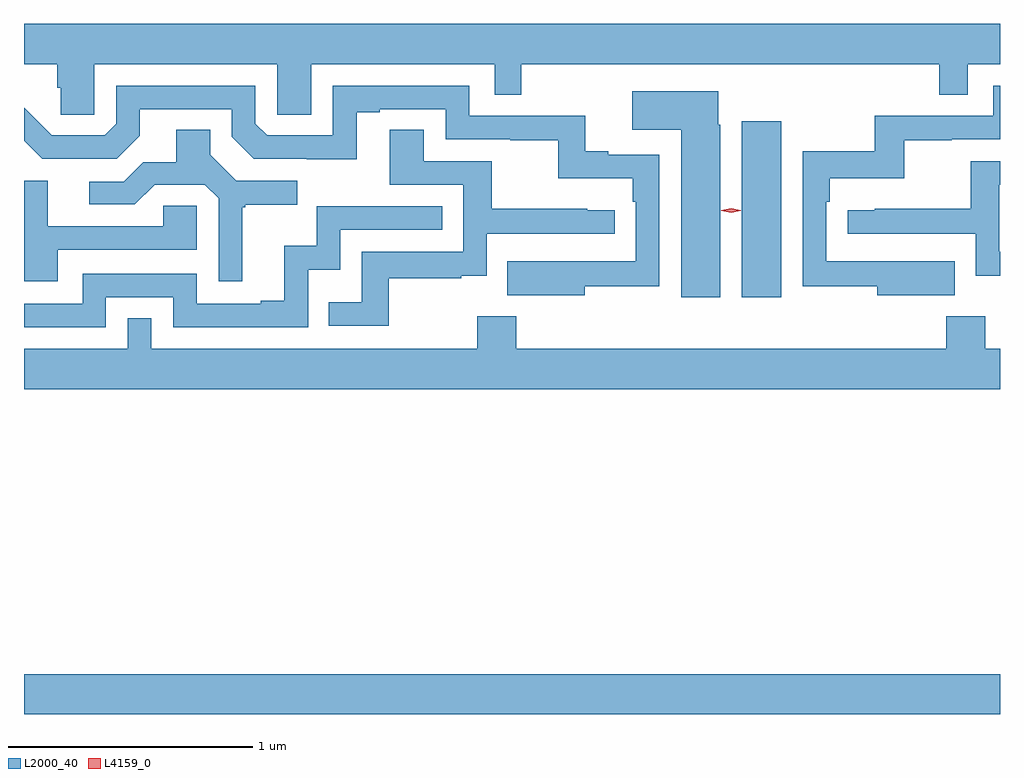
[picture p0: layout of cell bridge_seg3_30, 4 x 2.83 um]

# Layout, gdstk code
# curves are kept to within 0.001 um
import gdstk
lib = gdstk.Library(unit=1e-6, precision=1e-09)
def R(c, l, rs):  # rectangles x0, y0, x1, y1
    for r in rs: c.add(gdstk.rectangle(r[:2], r[2:], *l))
def P(c, l, *ps):  # polygons
    for p in ps: c.add(gdstk.Polygon(p, *l))
L2000_40 = (2000, 40)
L4159_0 = (4159, 0)

bridge_seg3_30 = lib.new_cell('bridge_seg3_30')
R(bridge_seg3_30, L2000_40, [(860.604,703.58,864.604,703.744), (863.546,705.288,863.707,706.009)])
P(bridge_seg3_30, L2000_40, [(860.892,706.244),(861.642,706.244),(861.642,706.036),(861.781,706.036),(861.781,706.244),(862.533,706.244),(862.533,706.117),(862.642,706.117),(862.642,706.244),(864.355,706.244),(864.355,706.117),(864.471,706.117),(864.471,706.244),(864.604,706.244),(864.604,706.408),(860.604,706.408),(860.604,706.244),(860.741,706.244),(860.741,706.146),(860.755,706.146),(860.755,706.036),(860.892,706.036)],
  [(864.419,705.436),(864.205,705.436),(864.205,705.435),(863.892,705.435),(863.892,705.68),(863.906,705.68),(863.906,705.776),(864.211,705.776),(864.211,705.931),(864.407,705.931),(864.407,705.936),(864.604,705.936),(864.604,706.155),(864.576,706.155),(864.576,706.032),(864.09,706.032),(864.09,705.886),(863.796,705.886),(863.796,705.334),(864.101,705.334),(864.101,705.296),(864.419,705.296)],
  [(862.903,705.334),(863.208,705.334),(863.208,705.873),(862.999,705.873),(862.999,705.886),(862.904,705.886),(862.904,706.032),(862.428,706.032),(862.428,706.155),(861.87,706.155),(861.87,705.951),(861.6,705.951),(861.552,705.999),(861.552,706.155),(860.982,706.155),(860.982,705.999),(860.934,705.951),(860.718,705.951),(860.604,706.065),(860.604,705.93),(860.679,705.855),(860.985,705.855),(861.079,705.949),(861.079,706.059),(861.456,706.059),(861.456,705.945),(861.546,705.855),(861.967,705.854),(861.967,706.047),(862.063,706.047),(862.063,706.059),(862.332,706.059),(862.332,705.936),(862.597,705.936),(862.597,705.931),(862.794,705.931),(862.794,705.776),(863.099,705.776),(863.099,705.68),(863.112,705.68),(863.112,705.435),(862.585,705.436),(862.585,705.296),(862.903,705.296)],
  [(863.458,705.996),(863.449,705.996),(863.449,706.132),(863.097,706.132),(863.097,705.974),(863.297,705.974),(863.297,705.288),(863.458,705.288)],
  [(861.499,705.657),(861.511,705.657),(861.511,705.668),(861.724,705.668),(861.724,705.765),(861.474,705.765),(861.367,705.872),(861.367,705.974),(861.227,705.974),(861.227,705.842),(861.092,705.842),(861.012,705.762),(860.871,705.762),(860.871,705.669),(861.058,705.669),(861.139,705.75),(861.345,705.75),(861.402,705.693),(861.402,705.354),(861.499,705.354)],
  [(862.099,705.366),(862.397,705.366),(862.397,705.377),(862.5,705.377),(862.5,705.549),(863.026,705.549),(863.026,705.645),(862.913,705.645),(862.913,705.65),(862.52,705.65),(862.52,705.846),(862.243,705.846),(862.243,705.974),(862.103,705.974),(862.103,705.75),(862.404,705.75),(862.404,705.474),(861.988,705.474),(861.988,705.268),(861.853,705.268),(861.853,705.171),(862.099,705.171)],
  [(864.604,705.474),(864.6,705.474),(864.6,705.75),(864.604,705.75),(864.604,705.846),(864.484,705.846),(864.484,705.65),(864.091,705.65),(864.091,705.645),(863.979,705.645),(863.979,705.549),(864.504,705.549),(864.504,705.377),(864.604,705.377)],
  [(860.743,705.483),(861.312,705.483),(861.312,705.663),(861.175,705.663),(861.175,705.579),(860.701,705.579),(860.701,705.765),(860.604,705.765),(860.604,705.354),(860.743,705.354)],
  [(860.94,705.288),(861.216,705.288),(861.216,705.165),(861.768,705.165),(861.768,705.401),(861.9,705.401),(861.9,705.564),(862.319,705.564),(862.319,705.66),(861.804,705.66),(861.804,705.499),(861.671,705.499),(861.671,705.274),(861.575,705.274),(861.575,705.261),(861.312,705.261),(861.312,705.384),(860.844,705.384),(860.844,705.261),(860.604,705.261),(860.604,705.165),(860.94,705.165)],
  [(864.604,705.076),(864.543,705.076),(864.543,705.211),(864.383,705.211),(864.383,705.076),(862.622,705.076),(862.622,705.211),(862.462,705.211),(862.462,705.076),(861.126,705.076),(861.126,705.203),(861.03,705.203),(861.03,705.076),(860.604,705.076),(860.604,704.912),(864.604,704.912)])
P(bridge_seg3_30, L4159_0, [(863.502,705.634),(863.462,705.643),(863.462,705.643),(863.462,705.644),(863.502,705.653),(863.542,705.644),(863.542,705.643),(863.542,705.643)])

lib.write_gds('bridge_seg3_30.gds')
